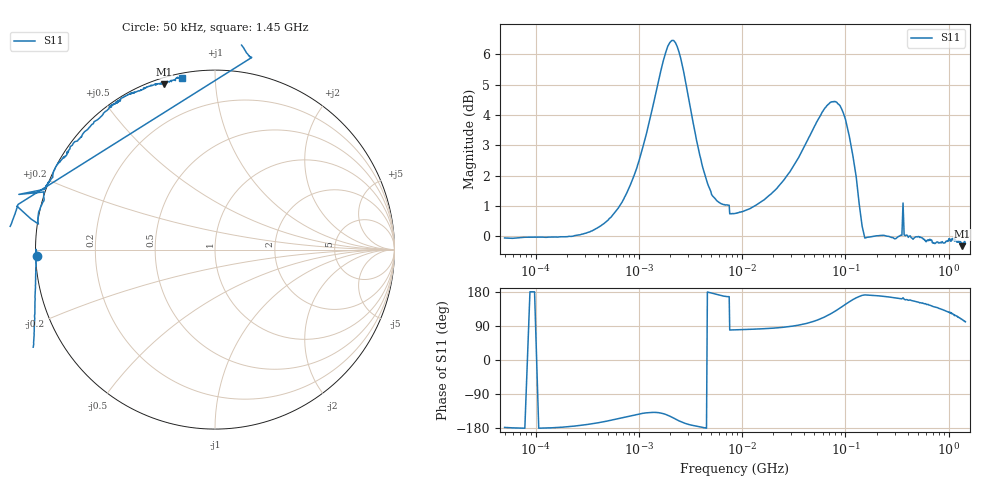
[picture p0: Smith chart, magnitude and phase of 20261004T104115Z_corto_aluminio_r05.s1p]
! piloto_corto / corto_aluminio / r05
# HZ S RI R 50
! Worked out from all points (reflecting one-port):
!   501 points, 50 kHz to 1.45 GHz, reference 50 ohm
!   lowest |S11| = -0.3 dB at 1.342 GHz (marker M1), VSWR 54.42, Z = 1.42 + j36.8 ohm
!   phase of S11 starts at -178 deg and turns -81 deg over the sweep
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50000  -0.9938 -0.0351
183000  -0.9975 -0.049
354000  -1 -0.21
658000  -1.009 -0.5005
1180000  -1.12 -0.9589
1630000  -1.438 -1.203
1990000  -1.773 -1.097
2440000  -1.899 -0.6681
2890000  -1.726 -0.3536
3340000  -1.53 -0.1933
4870000  -1.195 0.0454
7300000  -1.098 0.2512
7750000  0.2033 1.071
8560000  0.1963 1.074
3.16e7  0.00272 1.308
4.69e7  -0.2611 1.46
6.76e7  -0.77 1.457
7.93e7  -1.041 1.303
9.37e7  -1.262 0.9977
9.82e7  -1.296 0.8924
1e8  -1.306 0.8509
1.18e8  -1.27 0.4777
1.36e8  -1.103 0.2414
1.63e8  -0.9857 0.1501
4.06e8  -0.9211 0.3809
8.56e8  -0.6756 0.7072
1.342e9  -0.2857 0.9206
1.45e9  -0.1815 0.9565
